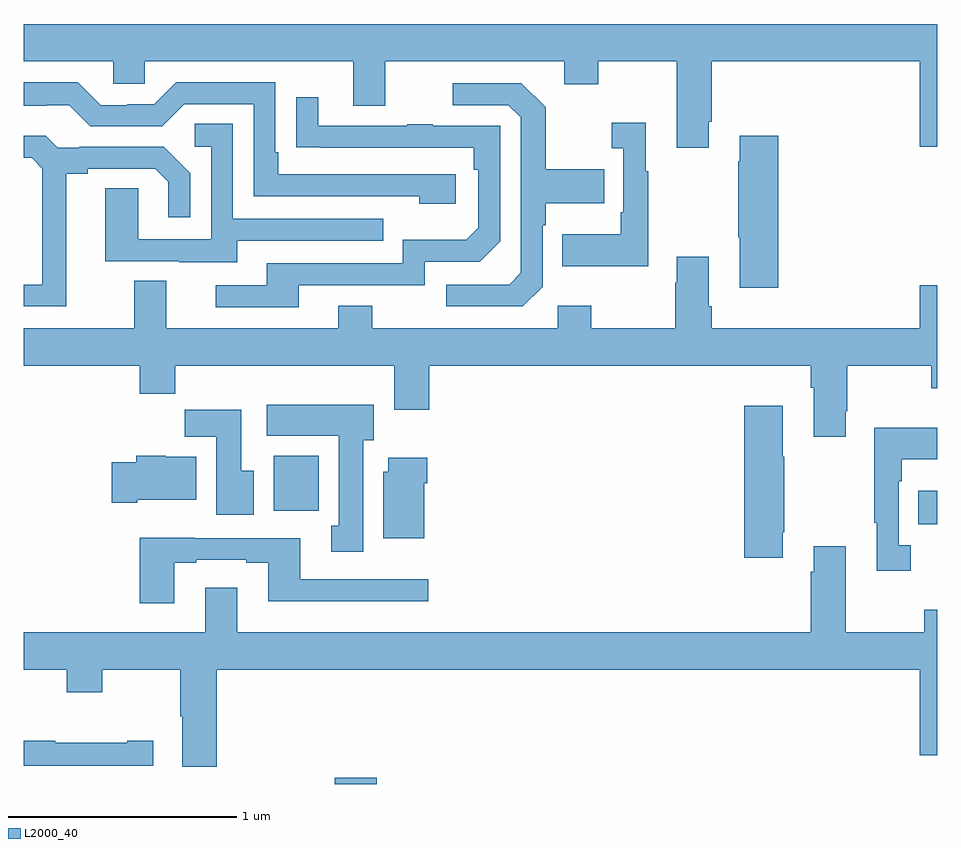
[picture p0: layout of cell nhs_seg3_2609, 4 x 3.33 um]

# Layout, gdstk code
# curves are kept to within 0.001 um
import gdstk
lib = gdstk.Library(unit=1e-6, precision=1e-09)
def R(c, l, rs):  # rectangles x0, y0, x1, y1
    for r in rs: c.add(gdstk.rectangle(r[:2], r[2:], *l))
def P(c, l, *ps):  # polygons
    for p in ps: c.add(gdstk.Polygon(p, *l))
L2000_40 = (2000, 40)

nhs_seg3_2609 = lib.new_cell('nhs_seg3_2609')
R(nhs_seg3_2609, L2000_40, [(246.362,716.4,246.545,716.428), (248.917,717.538,249,717.685), (246.095,717.596,246.292,717.838)])
P(nhs_seg3_2609, L2000_40, [(247.999,719.299),(248.012,719.299),(248.012,719.564),(248.924,719.564),(248.924,719.19),(249,719.19),(249,719.728),(245,719.728),(245,719.564),(245.391,719.564),(245.391,719.466),(245.529,719.466),(245.529,719.564),(246.443,719.564),(246.443,719.37),(246.583,719.37),(246.583,719.564),(247.367,719.564),(247.367,719.465),(247.515,719.465),(247.515,719.564),(247.859,719.564),(247.859,719.187),(247.999,719.187)],
  [(246.892,719.07),(246.115,719.07),(246.115,719.167),(246.102,719.167),(246.102,719.472),(245.667,719.472),(245.571,719.376),(245.453,719.376),(245.453,719.373),(245.337,719.373),(245.237,719.473),(245,719.473),(245,719.369),(245.099,719.369),(245.099,719.373),(245.199,719.373),(245.292,719.28),(245.607,719.28),(245.703,719.376),(246.006,719.376),(246.006,718.974),(246.731,718.974),(246.731,718.94),(246.892,718.94)],
  [(247.272,718.578),(247.272,718.847),(247.285,718.847),(247.285,718.943),(247.541,718.943),(247.541,719.091),(247.285,719.091),(247.285,719.363),(247.179,719.469),(246.879,719.469),(246.879,719.373),(247.122,719.373),(247.176,719.319),(247.176,718.638),(247.125,718.587),(246.849,718.587),(246.849,718.491),(247.185,718.491)],
  [(246.205,718.584),(246.756,718.584),(246.756,718.686),(246.996,718.686),(247.086,718.776),(247.086,719.283),(246.791,719.283),(246.791,719.288),(246.679,719.288),(246.679,719.283),(246.289,719.283),(246.289,719.407),(246.193,719.407),(246.193,719.188),(246.97,719.187),(246.97,719.09),(246.99,719.09),(246.99,718.836),(246.937,718.783),(246.66,718.783),(246.66,718.68),(246.065,718.68),(246.065,718.584),(245.841,718.584),(245.841,718.488),(246.205,718.488)],
  [(247.735,719.083),(247.723,719.083),(247.723,719.296),(247.575,719.296),(247.575,719.183),(247.626,719.183),(247.626,718.903),(247.614,718.903),(247.614,718.807),(247.357,718.807),(247.357,718.667),(247.735,718.667)],
  [(245.935,718.779),(246.575,718.779),(246.575,718.875),(245.916,718.875),(245.916,719.291),(245.748,719.291),(245.748,719.19),(245.82,719.19),(245.82,718.785),(245.502,718.785),(245.502,719.009),(245.357,719.009),(245.357,718.689),(245.681,718.689),(245.681,718.685),(245.935,718.685)],
  [(245.185,719.072),(245.281,719.072),(245.281,719.094),(245.576,719.094),(245.633,719.037),(245.633,718.881),(245.73,718.881),(245.73,719.074),(245.614,719.19),(245.242,719.19),(245.242,719.187),(245.148,719.187),(245.096,719.239),(245,719.239),(245,719.142),(245.034,719.142),(245.081,719.095),(245.081,718.587),(245,718.587),(245,718.491),(245.185,718.491)],
  [(248.303,719.239),(248.135,719.239),(248.135,719.126),(248.128,719.126),(248.128,718.795),(248.135,718.795),(248.135,718.572),(248.303,718.572)],
  [(248.599,718.033),(248.607,718.033),(248.607,718.232),(248.974,718.232),(248.974,718.133),(249,718.133),(249,718.585),(248.924,718.585),(248.924,718.396),(248.012,718.396),(248.012,718.492),(247.999,718.492),(247.999,718.708),(247.859,718.708),(247.859,718.595),(247.852,718.595),(247.852,718.396),(247.485,718.396),(247.485,718.495),(247.338,718.495),(247.338,718.396),(246.525,718.396),(246.525,718.495),(246.377,718.495),(246.377,718.396),(245.623,718.396),(245.623,718.604),(245.483,718.604),(245.483,718.396),(245,718.396),(245,718.232),(245.507,718.232),(245.507,718.108),(245.663,718.108),(245.663,718.232),(246.623,718.232),(246.623,718.038),(246.776,718.038),(246.776,718.232),(248.447,718.232),(248.447,718.136),(248.459,718.136),(248.459,717.921),(248.599,717.921)],
  [(246.487,717.906),(246.532,717.906),(246.532,718.06),(246.063,718.06),(246.063,717.926),(246.38,717.926),(246.38,717.53),(246.347,717.53),(246.347,717.417),(246.487,717.417)],
  [(248.323,717.502),(248.331,717.502),(248.331,717.833),(248.323,717.833),(248.323,718.057),(248.156,718.057),(248.156,717.39),(248.323,717.39)],
  [(246.007,717.772),(245.953,717.772),(245.953,718.039),(245.704,718.039),(245.704,717.92),(245.843,717.92),(245.843,717.579),(246.007,717.579)],
  [(248.884,717.446),(248.832,717.446),(248.832,717.725),(248.845,717.725),(248.845,717.821),(249,717.821),(249,717.961),(248.724,717.961),(248.724,717.545),(248.735,717.545),(248.735,717.333),(248.884,717.333)],
  [(245.497,717.644),(245.755,717.644),(245.755,717.832),(245.622,717.832),(245.622,717.838),(245.492,717.838),(245.492,717.81),(245.385,717.81),(245.385,717.632),(245.497,717.632)],
  [(246.754,717.716),(246.767,717.716),(246.767,717.829),(246.596,717.829),(246.596,717.768),(246.575,717.768),(246.575,717.476),(246.754,717.476)],
  [(245.659,717.369),(245.755,717.369),(245.755,717.381),(245.975,717.381),(245.975,717.369),(246.071,717.369),(246.071,717.2),(246.772,717.2),(246.772,717.297),(246.211,717.297),(246.211,717.477),(245.747,717.477),(245.747,717.478),(245.507,717.478),(245.507,717.192),(245.659,717.192)],
  [(249,717.163),(248.944,717.163),(248.944,717.064),(248.599,717.064),(248.599,717.442),(248.459,717.442),(248.459,717.329),(248.447,717.329),(248.447,717.064),(245.935,717.064),(245.935,717.259),(245.795,717.259),(245.795,717.064),(245,717.064),(245,716.9),(245.188,716.9),(245.188,716.801),(245.343,716.801),(245.343,716.9),(245.686,716.9),(245.686,716.696),(245.693,716.696),(245.693,716.475),(245.846,716.475),(245.846,716.9),(248.924,716.9),(248.924,716.526),(249,716.526)],
  [(245.566,716.59),(245.453,716.59),(245.453,716.58),(245.138,716.58),(245.138,716.59),(245,716.59),(245,716.481),(245.29,716.481),(245.29,716.48),(245.566,716.48)])

lib.write_gds('nhs_seg3_2609.gds')
